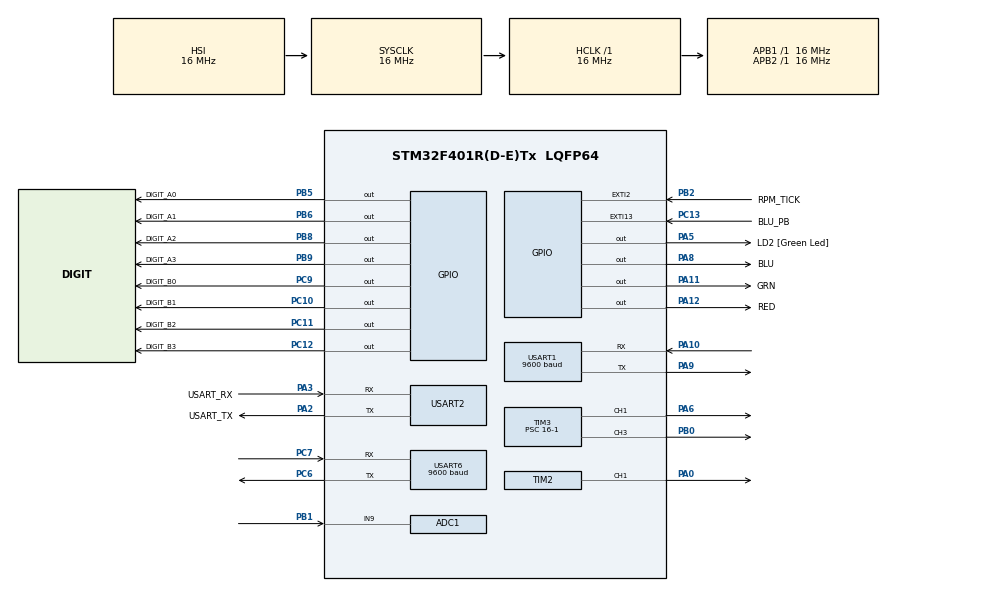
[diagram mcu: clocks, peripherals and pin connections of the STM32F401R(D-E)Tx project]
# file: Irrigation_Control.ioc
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ADC1.Channel-0\#ChannelRegularConversion=ADC_CHANNEL_9
ADC1.NbrOfConversionFlag=1
ADC1.Rank-0\#ChannelRegularConversion=1
ADC1.Resolution=ADC_RESOLUTION_8B
ADC1.SamplingTime-0\#ChannelRegularConversion=ADC_SAMPLETIME_15CYCLES
ADC1.ScanConvMode=ENABLE
ADC1.master=1
Mcu.Family=STM32F4
Mcu.Name=STM32F401R(D-E)Tx
Mcu.Package=LQFP64
NVIC.EXTI15_10_IRQn=true\:0\:0\:false\:false\:true\:true\:true\:true
NVIC.EXTI2_IRQn=true\:0\:0\:false\:false\:true\:true\:true\:true
NVIC.PriorityGroup=NVIC_PRIORITYGROUP_0
NVIC.TIM5_IRQn=true\:0\:0\:false\:false\:true\:true\:true\:true
NVIC.USART1_IRQn=true\:0\:0\:false\:false\:true\:true\:true\:true
NVIC.USART6_IRQn=true\:0\:0\:false\:false\:true\:true\:true\:true
PA0-WKUP.Signal=S_TIM2_CH1_ETR
PA10.Mode=Asynchronous
PA10.Signal=USART1_RX
PA11.GPIO_Label=GRN
PA11.Signal=GPIO_Output
PA12.GPIO_Label=RED
PA12.Signal=GPIO_Output
PA13.GPIO_Label=TMS
PA13.Mode=Serial_Wire
PA13.Signal=SYS_JTMS-SWDIO
PA14.GPIO_Label=TCK
PA14.Mode=Serial_Wire
PA14.Signal=SYS_JTCK-SWCLK
PA2.GPIO_Label=USART_TX
PA2.GPIO_Mode=GPIO_MODE_AF_PP
PA2.GPIO_PuPd=GPIO_NOPULL
PA2.GPIO_Speed=GPIO_SPEED_FREQ_LOW
PA2.Mode=Asynchronous
PA2.Signal=USART2_TX
PA3.GPIO_Label=USART_RX
PA3.GPIO_Mode=GPIO_MODE_AF_PP
PA3.GPIO_PuPd=GPIO_NOPULL
PA3.GPIO_Speed=GPIO_SPEED_FREQ_LOW
PA3.Mode=Asynchronous
PA3.Signal=USART2_RX
PA5.GPIO_Label=LD2 [Green Led]
PA5.GPIO_Mode=GPIO_MODE_OUTPUT_PP
PA5.GPIO_PuPd=GPIO_NOPULL
PA5.GPIO_Speed=GPIO_SPEED_FREQ_LOW
PA5.Signal=GPIO_Output
PA6.Signal=S_TIM3_CH1
PA8.GPIO_Label=BLU
PA8.Signal=GPIO_Output
PA9.Mode=Asynchronous
PA9.Signal=USART1_TX
PB0.Signal=S_TIM3_CH3
PB1.Signal=ADCx_IN9
PB2.GPIO_Label=RPM_TICK
PB2.Signal=GPXTI2
PB3.GPIO_Label=SWO
PB3.Signal=SYS_JTDO-SWO
PB5.GPIO_Label=DIGIT_A0
PB5.Signal=GPIO_Output
PB6.GPIO_Label=DIGIT_A1
PB6.Signal=GPIO_Output
PB8.GPIO_Label=DIGIT_A2
PB8.Signal=GPIO_Output
PB9.GPIO_Label=DIGIT_A3
PB9.Signal=GPIO_Output
PC10.GPIO_Label=DIGIT_B1
PC10.Signal=GPIO_Output
PC11.GPIO_Label=DIGIT_B2
PC11.Signal=GPIO_Output
PC12.GPIO_Label=DIGIT_B3
PC12.Signal=GPIO_Output
PC13-ANTI_TAMP.GPIO_Label=BLU_PB
PC13-ANTI_TAMP.GPIO_ModeDefaultEXTI=GPIO_MODE_IT_FALLING
PC13-ANTI_TAMP.GPIO_PuPd=GPIO_NOPULL
PC13-ANTI_TAMP.Signal=GPXTI13
PC14-OSC32_IN.Mode=LSE-External-Oscillator
PC14-OSC32_IN.Signal=RCC_OSC32_IN
PC15-OSC32_OUT.Mode=LSE-External-Oscillator
PC15-OSC32_OUT.Signal=RCC_OSC32_OUT
PC6.Mode=Asynchronous
PC6.Signal=USART6_TX
PC7.Mode=Asynchronous
PC7.Signal=USART6_RX
PC9.GPIO_Label=DIGIT_B0
PC9.Signal=GPIO_Output
PH0\ -\ OSC_IN.Mode=HSE-External-Clock-Source
PH0\ -\ OSC_IN.Signal=RCC_OSC_IN
PH1\ -\ OSC_OUT.Mode=HSE-External-Clock-Source
PH1\ -\ OSC_OUT.Signal=RCC_OSC_OUT
ProjectManager.HeapSize=0x200
ProjectManager.StackSize=0x400
ProjectManager.TargetToolchain=STM32CubeIDE
RCC.48MHZClocksFreq_Value=48000000
RCC.AHBFreq_Value=16000000
RCC.APB1Freq_Value=16000000
RCC.APB1TimFreq_Value=16000000
RCC.APB2Freq_Value=16000000
RCC.APB2TimFreq_Value=16000000
RCC.CortexFreq_Value=16000000
RCC.HCLKFreq_Value=16000000
RCC.HSE_VALUE=8000000
RCC.HSI_VALUE=16000000
RCC.PLLN=336
RCC.PLLP=RCC_PLLP_DIV4
RCC.PLLQ=7
RCC.SYSCLKFreq_VALUE=16000000
RCC.VCOOutputFreq_Value=336000000
SH.ADCx_IN9.0=ADC1_IN9,IN9
SH.S_TIM2_CH1_ETR.0=TIM2_CH1,PWM Generation1 CH1
SH.S_TIM3_CH1.0=TIM3_CH1,PWM Generation1 CH1
SH.S_TIM3_CH3.0=TIM3_CH3,PWM Generation3 CH3
TIM2.AutoReloadPreload=TIM_AUTORELOAD_PRELOAD_ENABLE
TIM2.Channel-PWM\ Generation1\ CH1=TIM_CHANNEL_1
TIM2.Period=20000-1
TIM2.Prescaler=16-1
TIM2.Pulse-PWM\ Generation1\ CH1=0
TIM3.AutoReloadPreload=TIM_AUTORELOAD_PRELOAD_ENABLE
TIM3.Channel-PWM\ Generation1\ CH1=TIM_CHANNEL_1
TIM3.Channel-PWM\ Generation3\ CH3=TIM_CHANNEL_3
TIM3.Period=2000-1
TIM3.Prescaler=16-1
TIM3.Pulse-PWM\ Generation1\ CH1=0
TIM5.AutoReloadPreload=TIM_AUTORELOAD_PRELOAD_ENABLE
TIM5.Period=1000-1
TIM5.Prescaler=16000-1
USART1.BaudRate=9600
USART1.VirtualMode=VM_ASYNC
USART2.VirtualMode=VM_ASYNC
USART6.BaudRate=9600
USART6.VirtualMode=VM_ASYNC
VP_TIM2_VS_ClockSourceINT.Mode=Internal
VP_TIM3_VS_ClockSourceINT.Mode=Internal
VP_TIM5_VS_ClockSourceINT.Mode=Internal
board=NUCLEO-F401RE

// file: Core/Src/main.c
/* USER CODE BEGIN Header */
/**
  ******************************************************************************
  * @file           : main.c
  * @brief          : Main program body
  * Author          : Bowen Zheng, Jingyan Xu
  ******************************************************************************
  * @attention
  *
  * Copyright (c) 2024 STMicroelectronics.
  * All rights reserved.
  *
  * This software is licensed under terms that can be found in the LICENSE file
  * in the root directory of this software component.
  * If no LICENSE file comes with this software, it is provided AS-IS.
  *
  ******************************************************************************
  */
/* USER CODE END Header */
#include "main.h"

/* USER CODE BEGIN Includes */
#include <string.h>
#include <stdio.h>
#include <stdlib.h>
/* USER CODE END Includes */

/* USER CODE BEGIN PD */

  /* -- UART -- */
uint8_t byte;
uint8_t user_input_flag = 0;

  /* -- MOTOR PMW Option -- */
volatile uint8_t INLET_PWM = 0;
volatile uint8_t Zone_1_PWM = 0;
volatile uint8_t Zone_2_PWM = 0;
volatile uint8_t Zone_3_PWM = 0;

  /* -- CLOCK Option -- */
volatile uint8_t WALL_CLK_START = 00;
volatile uint8_t INLET_CLK_START = 00;
volatile uint8_t INLET_CLK_STOP = 00;
volatile uint8_t Zone_1_CLK_START = 00;
volatile uint8_t Zone_1_CLK_STOP = 00;
volatile uint8_t Zone_2_CLK_START = 00;
volatile uint8_t Zone_2_CLK_STOP = 00;
volatile uint8_t Zone_3_CLK_START = 00;
volatile uint8_t Zone_3_CLK_STOP = 00;

 /* -------- RUN MODE VAR -------- */
volatile uint8_t RUN_MODE_START_FLAG = 0;
 /* -- DC Motor -- */
volatile uint64_t rpm_tick_count = 0;
volatile uint64_t last_rpm_tick_count = 0;
volatile uint32_t DC_Motor_RPM = 0;

 /* -- Wall Clock -- */
volatile uint64_t simulate_seconds = 0;
volatile uint8_t Current_Wall_CLK_Hour = 00;

// US100-Trigger, command byte  = 0x55;
uint8_t cmd_dist = 0x55;
volatile uint8_t us100_Rx_flag = 0;
/* Two bytes to store distance detected from US100 */
uint8_t us100_buffer[2] = {0};
uint8_t msg_buffer[64] = {0};
volatile uint16_t distance = 0;

 /* -- ADC -- */
volatile uint8_t ADC_Control_Percent = 0;

/* USER CODE END PD */

ADC_HandleTypeDef hadc1;

TIM_HandleTypeDef htim2;
TIM_HandleTypeDef htim3;
TIM_HandleTypeDef htim5;

UART_HandleTypeDef huart1;
UART_HandleTypeDef huart2;
UART_HandleTypeDef huart6;

void SystemClock_Config(void);
static void MX_GPIO_Init(void);
static void MX_USART2_UART_Init(void);
static void MX_TIM3_Init(void);
static void MX_TIM2_Init(void);
static void MX_USART1_UART_Init(void);
static void MX_USART6_UART_Init(void);
static void MX_ADC1_Init(void);
static void MX_TIM5_Init(void);
/* USER CODE BEGIN PFP */
void DIGITS_Display(uint8_t DIGIT_A, uint8_t DIGIT_B);
void ADC_Select_CH(int CH );
void HAL_UART_RxCpltCallback(UART_HandleTypeDef *huart);
void UART_Parse_MSG(char* option_msg, char *msg, volatile uint8_t *Zone, unsigned int input_char_num);
void UART_Send_MSG(char* msg);
void HAL_GPIO_EXTI_Callback(uint16_t GPIO_Pin);
void HAL_TIM_PeriodElapsedCallback(TIM_HandleTypeDef *htim);
void Control_DC_Motor_PWM(uint8_t percent, uint8_t direction); // 0 - reverse; 1 - forward
void Control_Servo_Motor_PWM(uint8_t direction); // 0 - INLET; 1 - OUTLET_1; 2 - OUTLET_2; 3 - OUTLET_3
void Update_Wall_CLK_Display(volatile uint64_t simulate_seconds);
uint8_t ADC_Manual_Control_PWM(ADC_HandleTypeDef *hadc, uint8_t adc_channel);

/* USER CODE END PFP */

int main(void)
{

  /* MCU Configuration--------------------------------------------------------*/

  /* Reset of all peripherals, Initializes the Flash interface and the Systick. */
  HAL_Init();

  /* Configure the system clock */
  SystemClock_Config();

  /* Initialize all configured peripherals */
  MX_GPIO_Init();
  MX_USART2_UART_Init();
  MX_TIM3_Init();
  MX_TIM2_Init();
  MX_USART1_UART_Init();
  MX_USART6_UART_Init();
  MX_ADC1_Init();
  MX_TIM5_Init();
  /* USER CODE BEGIN 2 */

    /* ------------------ SET UP MODE BEGIN ------------------ */
  // Turn off Nucleo green LED
  HAL_GPIO_WritePin(LD2_GPIO_Port, LD2_Pin, GPIO_PIN_RESET);
  UART_Send_MSG("\r SETUP MODE");
  //parse PWM options
  UART_Parse_MSG("\r\n\n PMW option: 0) Manual Control; 1) 60% PMW; 2) 80% PMW; 3) 99% PMW;",
			           "\r\n INLET MOTOR SPEED PWM (option 0-3): ", &INLET_PWM, 1);
  UART_Parse_MSG("",
			      		 "\r\n ZONE 1 MOTOR SPEED PWM (option 0-3): ", &Zone_1_PWM, 1);
  UART_Parse_MSG("",
			           "\r\n ZONE 2 MOTOR SPEED PWM (option 0-3): ", &Zone_2_PWM, 1);
  UART_Parse_MSG("",
			           "\r\n ZONE 3 MOTOR SPEED PWM (option 0-3): ", &Zone_3_PWM, 1);
  //parse CLOCK options
  UART_Parse_MSG("\r\n\n CLOCK option: 00 - Midnight, 01 - 1:00am, ... , 12 - noon, 13 - 1:00pm",
			           "\r\n CURRENT WALL CLOCK START TIME(0-23): ", &WALL_CLK_START, 2);
  UART_Parse_MSG("",
			           "\r\n\n INLET WALL CLOCK START TIME(0-23): ", &INLET_CLK_START, 2);
  UART_Parse_MSG("",
			           "\r\n INLET WALL CLOCK STOP TIME(0-23): ", &INLET_CLK_STOP, 2);
  UART_Parse_MSG("",
			           "\r\n\n ZONE 1 WALL CLOCK START TIME(0-23): ", &Zone_1_CLK_START, 2);
  UART_Parse_MSG("",
			           "\r\n ZONE 1 WALL CLOCK STOP TIME(0-23): ", &Zone_1_CLK_STOP, 2);
  UART_Parse_MSG("",
			           "\r\n\n ZONE 2 WALL CLOCK START TIME(0-23): ", &Zone_2_CLK_START, 2);
  UART_Parse_MSG("",
			           "\r\n ZONE 2 WALL CLOCK STOP TIME(0-23): ", &Zone_2_CLK_STOP, 2);
  UART_Parse_MSG("",
			           "\r\n\n ZONE 3 WALL CLOCK START TIME(0-23): ", &Zone_3_CLK_START, 2);
  UART_Parse_MSG("",
			           "\r\n ZONE 3 WALL CLOCK STOP TIME(0-23): ", &Zone_3_CLK_STOP, 2);
  UART_Send_MSG("\r\n\n SETUP MODE END");
  // wait for run mode to start (blue PB)
  while (RUN_MODE_START_FLAG == 0) {
    // Flash controller green LED
    HAL_GPIO_TogglePin(LD2_GPIO_Port, LD2_Pin);
    HAL_Delay(100);
  };
    /* ------------------ SET UP MODE END ------------------ */

    /* ------------------ RUN MODE ------------------ */
  // start up TIMER 5 for one second interrupts
  HAL_TIM_Base_Start_IT(&htim5);
  // start up TIMER 3 for DC motor control and TIMER 2 for Servo motor control
  HAL_TIM_Base_Init(&htim3);
	HAL_TIM_Base_Start(&htim2);
	HAL_TIM_PWM_Start(&htim2, TIM_CHANNEL_1);
  HAL_TIM_Base_Init(&htim3);
  HAL_TIM_PWM_Start(&htim3, TIM_CHANNEL_1);
  HAL_TIM_PWM_Start(&htim3, TIM_CHANNEL_3);

	// Turn ON controller green LED
	HAL_GPIO_WritePin(LD2_GPIO_Port, LD2_Pin, GPIO_PIN_SET);
	UART_Send_MSG("\r\n\n RUN MODE");
  /* USER CODE END 2 */

  /* Infinite loop */
  /* USER CODE BEGIN WHILE */
  while (1)
  {
  	/*
  	Control_DC_Motor_PWM(99, 0);
  	char buf[64];
  	sprintf(buf, "Motor RPM: %lu\r\n", DC_Motor_RPM);
  	HAL_UART_Transmit(&huart6, (uint8_t*)buf, strlen(buf), 1000);
		*/
  	/* US100
  	HAL_UART_Receive_IT(&huart1, us100_buffer, 2);
		HAL_UART_Transmit(&huart1, &cmd_dist, 1, 500);
		while( us100_Rx_flag == (00) ) {};
		// Combine the two bytes into a single 16-bit integer
		distance = ((uint16_t)us100_buffer[0] << 8) | us100_buffer[1];
		sprintf( (char*)msg_buffer, "Distance in mm: %d \r\n", distance );
    HAL_UART_Transmit(&huart6, msg_buffer, strlen((char*)msg_buffer), 1000);
		*/
  	uint8_t adc_percent = ADC_Manual_Control_PWM(&hadc1, 9);
  	char buf[64];
  	sprintf(buf, "ADC: %u\r\n", adc_percent);
  	HAL_UART_Transmit(&huart6, (uint8_t*)buf, strlen(buf), 1000);

  	  /* ------------------ RUN MODE END ------------------ */

    /* USER CODE END WHILE */

  }
}

void SystemClock_Config(void)
{
  RCC_OscInitTypeDef RCC_OscInitStruct = {0};
  RCC_ClkInitTypeDef RCC_ClkInitStruct = {0};

  /** Configure the main internal regulator output voltage
  */
  __HAL_RCC_PWR_CLK_ENABLE();
  __HAL_PWR_VOLTAGESCALING_CONFIG(PWR_REGULATOR_VOLTAGE_SCALE2);

  /** Initializes the RCC Oscillators according to the specified parameters
  * in the RCC_OscInitTypeDef structure.
  */
  RCC_OscInitStruct.OscillatorType = RCC_OSCILLATORTYPE_HSI;
  RCC_OscInitStruct.HSIState = RCC_HSI_ON;
  RCC_OscInitStruct.HSICalibrationValue = RCC_HSICALIBRATION_DEFAULT;
  RCC_OscInitStruct.PLL.PLLState = RCC_PLL_NONE;
  if (HAL_RCC_OscConfig(&RCC_OscInitStruct) != HAL_OK)
  {
    Error_Handler();
  }

  /** Initializes the CPU, AHB and APB buses clocks
  */
  RCC_ClkInitStruct.ClockType = RCC_CLOCKTYPE_HCLK|RCC_CLOCKTYPE_SYSCLK
                              |RCC_CLOCKTYPE_PCLK1|RCC_CLOCKTYPE_PCLK2;
  RCC_ClkInitStruct.SYSCLKSource = RCC_SYSCLKSOURCE_HSI;
  RCC_ClkInitStruct.AHBCLKDivider = RCC_SYSCLK_DIV1;
  RCC_ClkInitStruct.APB1CLKDivider = RCC_HCLK_DIV1;
  RCC_ClkInitStruct.APB2CLKDivider = RCC_HCLK_DIV1;

  if (HAL_RCC_ClockConfig(&RCC_ClkInitStruct, FLASH_LATENCY_0) != HAL_OK)
  {
    Error_Handler();
  }
}

static void MX_ADC1_Init(void)
{

  ADC_ChannelConfTypeDef sConfig = {0};

  /** Configure the global features of the ADC (Clock, Resolution, Data Alignment and number of conversion)
  */
  hadc1.Instance = ADC1;
  hadc1.Init.ClockPrescaler = ADC_CLOCK_SYNC_PCLK_DIV2;
  hadc1.Init.Resolution = ADC_RESOLUTION_8B;
  hadc1.Init.ScanConvMode = ENABLE;
  hadc1.Init.ContinuousConvMode = DISABLE;
  hadc1.Init.DiscontinuousConvMode = DISABLE;
  hadc1.Init.ExternalTrigConvEdge = ADC_EXTERNALTRIGCONVEDGE_NONE;
  hadc1.Init.ExternalTrigConv = ADC_SOFTWARE_START;
  hadc1.Init.DataAlign = ADC_DATAALIGN_RIGHT;
  hadc1.Init.NbrOfConversion = 1;
  hadc1.Init.DMAContinuousRequests = DISABLE;
  hadc1.Init.EOCSelection = ADC_EOC_SINGLE_CONV;
  if (HAL_ADC_Init(&hadc1) != HAL_OK)
  {
    Error_Handler();
  }

  /** Configure for the selected ADC regular channel its corresponding rank in the sequencer and its sample time.
  */
  sConfig.Channel = ADC_CHANNEL_9;
  sConfig.Rank = 1;
  sConfig.SamplingTime = ADC_SAMPLETIME_15CYCLES;
  if (HAL_ADC_ConfigChannel(&hadc1, &sConfig) != HAL_OK)
  {
    Error_Handler();
  }

}

static void MX_TIM2_Init(void)
{

  TIM_ClockConfigTypeDef sClockSourceConfig = {0};
  TIM_MasterConfigTypeDef sMasterConfig = {0};
  TIM_OC_InitTypeDef sConfigOC = {0};

  htim2.Instance = TIM2;
  htim2.Init.Prescaler = 16-1;
  htim2.Init.CounterMode = TIM_COUNTERMODE_UP;
  htim2.Init.Period = 20000-1;
  htim2.Init.ClockDivision = TIM_CLOCKDIVISION_DIV1;
  htim2.Init.AutoReloadPreload = TIM_AUTORELOAD_PRELOAD_ENABLE;
  if (HAL_TIM_Base_Init(&htim2) != HAL_OK)
  {
    Error_Handler();
  }
  sClockSourceConfig.ClockSource = TIM_CLOCKSOURCE_INTERNAL;
  if (HAL_TIM_ConfigClockSource(&htim2, &sClockSourceConfig) != HAL_OK)
  {
    Error_Handler();
  }
  if (HAL_TIM_PWM_Init(&htim2) != HAL_OK)
  {
    Error_Handler();
  }
  sMasterConfig.MasterOutputTrigger = TIM_TRGO_RESET;
  sMasterConfig.MasterSlaveMode = TIM_MASTERSLAVEMODE_DISABLE;
  if (HAL_TIMEx_MasterConfigSynchronization(&htim2, &sMasterConfig) != HAL_OK)
  {
    Error_Handler();
  }
  sConfigOC.OCMode = TIM_OCMODE_PWM1;
  sConfigOC.Pulse = 500-1;
  sConfigOC.OCPolarity = TIM_OCPOLARITY_HIGH;
  sConfigOC.OCFastMode = TIM_OCFAST_DISABLE;
  if (HAL_TIM_PWM_ConfigChannel(&htim2, &sConfigOC, TIM_CHANNEL_1) != HAL_OK)
  {
    Error_Handler();
  }
  HAL_TIM_MspPostInit(&htim2);

}

static void MX_TIM3_Init(void)
{

  TIM_ClockConfigTypeDef sClockSourceConfig = {0};
  TIM_MasterConfigTypeDef sMasterConfig = {0};
  TIM_OC_InitTypeDef sConfigOC = {0};

  htim3.Instance = TIM3;
  htim3.Init.Prescaler = 16-1;
  htim3.Init.CounterMode = TIM_COUNTERMODE_UP;
  htim3.Init.Period = 2000-1;
  htim3.Init.ClockDivision = TIM_CLOCKDIVISION_DIV1;
  htim3.Init.AutoReloadPreload = TIM_AUTORELOAD_PRELOAD_ENABLE;
  if (HAL_TIM_Base_Init(&htim3) != HAL_OK)
  {
    Error_Handler();
  }
  sClockSourceConfig.ClockSource = TIM_CLOCKSOURCE_INTERNAL;
  if (HAL_TIM_ConfigClockSource(&htim3, &sClockSourceConfig) != HAL_OK)
  {
    Error_Handler();
  }
  if (HAL_TIM_PWM_Init(&htim3) != HAL_OK)
  {
    Error_Handler();
  }
  sMasterConfig.MasterOutputTrigger = TIM_TRGO_RESET;
  sMasterConfig.MasterSlaveMode = TIM_MASTERSLAVEMODE_DISABLE;
  if (HAL_TIMEx_MasterConfigSynchronization(&htim3, &sMasterConfig) != HAL_OK)
  {
    Error_Handler();
  }
  sConfigOC.OCMode = TIM_OCMODE_PWM1;
  sConfigOC.Pulse = 0;
  sConfigOC.OCPolarity = TIM_OCPOLARITY_HIGH;
  sConfigOC.OCFastMode = TIM_OCFAST_DISABLE;
  if (HAL_TIM_PWM_ConfigChannel(&htim3, &sConfigOC, TIM_CHANNEL_1) != HAL_OK)
  {
    Error_Handler();
  }
  if (HAL_TIM_PWM_ConfigChannel(&htim3, &sConfigOC, TIM_CHANNEL_3) != HAL_OK)
  {
    Error_Handler();
  }
  HAL_TIM_MspPostInit(&htim3);

}

static void MX_TIM5_Init(void)
{

  TIM_ClockConfigTypeDef sClockSourceConfig = {0};
  TIM_MasterConfigTypeDef sMasterConfig = {0};

  htim5.Instance = TIM5;
  htim5.Init.Prescaler = 16000-1;
  htim5.Init.CounterMode = TIM_COUNTERMODE_UP;
  htim5.Init.Period = 1000-1;
  htim5.Init.ClockDivision = TIM_CLOCKDIVISION_DIV1;
  htim5.Init.AutoReloadPreload = TIM_AUTORELOAD_PRELOAD_ENABLE;
  if (HAL_TIM_Base_Init(&htim5) != HAL_OK)
  {
    Error_Handler();
  }
  sClockSourceConfig.ClockSource = TIM_CLOCKSOURCE_INTERNAL;
  if (HAL_TIM_ConfigClockSource(&htim5, &sClockSourceConfig) != HAL_OK)
  {
    Error_Handler();
  }
  sMasterConfig.MasterOutputTrigger = TIM_TRGO_RESET;
  sMasterConfig.MasterSlaveMode = TIM_MASTERSLAVEMODE_DISABLE;
  if (HAL_TIMEx_MasterConfigSynchronization(&htim5, &sMasterConfig) != HAL_OK)
  {
    Error_Handler();
  }

}

static void MX_USART1_UART_Init(void)
{

  huart1.Instance = USART1;
  huart1.Init.BaudRate = 9600;
  huart1.Init.WordLength = UART_WORDLENGTH_8B;
  huart1.Init.StopBits = UART_STOPBITS_1;
  huart1.Init.Parity = UART_PARITY_NONE;
  huart1.Init.Mode = UART_MODE_TX_RX;
  huart1.Init.HwFlowCtl = UART_HWCONTROL_NONE;
  huart1.Init.OverSampling = UART_OVERSAMPLING_16;
  if (HAL_UART_Init(&huart1) != HAL_OK)
  {
    Error_Handler();
  }

}

static void MX_USART2_UART_Init(void)
{

  huart2.Instance = USART2;
  huart2.Init.BaudRate = 115200;
  huart2.Init.WordLength = UART_WORDLENGTH_8B;
  huart2.Init.StopBits = UART_STOPBITS_1;
  huart2.Init.Parity = UART_PARITY_NONE;
  huart2.Init.Mode = UART_MODE_TX_RX;
  huart2.Init.HwFlowCtl = UART_HWCONTROL_NONE;
  huart2.Init.OverSampling = UART_OVERSAMPLING_16;
  if (HAL_UART_Init(&huart2) != HAL_OK)
  {
    Error_Handler();
  }

}

static void MX_USART6_UART_Init(void)
{

  huart6.Instance = USART6;
  huart6.Init.BaudRate = 9600;
  huart6.Init.WordLength = UART_WORDLENGTH_8B;
  huart6.Init.StopBits = UART_STOPBITS_1;
  huart6.Init.Parity = UART_PARITY_NONE;
  huart6.Init.Mode = UART_MODE_TX_RX;
  huart6.Init.HwFlowCtl = UART_HWCONTROL_NONE;
  huart6.Init.OverSampling = UART_OVERSAMPLING_16;
  if (HAL_UART_Init(&huart6) != HAL_OK)
  {
    Error_Handler();
  }

}

static void MX_GPIO_Init(void)
{
  GPIO_InitTypeDef GPIO_InitStruct = {0};

  /* GPIO Ports Clock Enable */
  __HAL_RCC_GPIOC_CLK_ENABLE();
  __HAL_RCC_GPIOH_CLK_ENABLE();
  __HAL_RCC_GPIOA_CLK_ENABLE();
  __HAL_RCC_GPIOB_CLK_ENABLE();

  /*Configure GPIO pin Output Level */
  HAL_GPIO_WritePin(GPIOA, LD2_Pin|BLU_Pin|GRN_Pin|RED_Pin, GPIO_PIN_RESET);

  /*Configure GPIO pin Output Level */
  HAL_GPIO_WritePin(GPIOC, DIGIT_B0_Pin|DIGIT_B1_Pin|DIGIT_B2_Pin|DIGIT_B3_Pin, GPIO_PIN_RESET);

  /*Configure GPIO pin Output Level */
  HAL_GPIO_WritePin(GPIOB, DIGIT_A0_Pin|DIGIT_A1_Pin|DIGIT_A2_Pin|DIGIT_A3_Pin, GPIO_PIN_RESET);

  /*Configure GPIO pin : BLU_PB_Pin */
  GPIO_InitStruct.Pin = BLU_PB_Pin;
  GPIO_InitStruct.Mode = GPIO_MODE_IT_FALLING;
  GPIO_InitStruct.Pull = GPIO_NOPULL;
  HAL_GPIO_Init(BLU_PB_GPIO_Port, &GPIO_InitStruct);

  /*Configure GPIO pins : LD2_Pin BLU_Pin GRN_Pin RED_Pin */
  GPIO_InitStruct.Pin = LD2_Pin|BLU_Pin|GRN_Pin|RED_Pin;
  GPIO_InitStruct.Mode = GPIO_MODE_OUTPUT_PP;
  GPIO_InitStruct.Pull = GPIO_NOPULL;
  GPIO_InitStruct.Speed = GPIO_SPEED_FREQ_LOW;
  HAL_GPIO_Init(GPIOA, &GPIO_InitStruct);

  /*Configure GPIO pin : RPM_TICK_Pin */
  GPIO_InitStruct.Pin = RPM_TICK_Pin;
  GPIO_InitStruct.Mode = GPIO_MODE_IT_RISING;
  GPIO_InitStruct.Pull = GPIO_NOPULL;
  HAL_GPIO_Init(RPM_TICK_GPIO_Port, &GPIO_InitStruct);

  /*Configure GPIO pins : DIGIT_B0_Pin DIGIT_B1_Pin DIGIT_B2_Pin DIGIT_B3_Pin */
  GPIO_InitStruct.Pin = DIGIT_B0_Pin|DIGIT_B1_Pin|DIGIT_B2_Pin|DIGIT_B3_Pin;
  GPIO_InitStruct.Mode = GPIO_MODE_OUTPUT_PP;
  GPIO_InitStruct.Pull = GPIO_NOPULL;
  GPIO_InitStruct.Speed = GPIO_SPEED_FREQ_LOW;
  HAL_GPIO_Init(GPIOC, &GPIO_InitStruct);

  /*Configure GPIO pins : DIGIT_A0_Pin DIGIT_A1_Pin DIGIT_A2_Pin DIGIT_A3_Pin */
  GPIO_InitStruct.Pin = DIGIT_A0_Pin|DIGIT_A1_Pin|DIGIT_A2_Pin|DIGIT_A3_Pin;
  GPIO_InitStruct.Mode = GPIO_MODE_OUTPUT_PP;
  GPIO_InitStruct.Pull = GPIO_NOPULL;
  GPIO_InitStruct.Speed = GPIO_SPEED_FREQ_LOW;
  HAL_GPIO_Init(GPIOB, &GPIO_InitStruct);

  /* EXTI interrupt init*/
  HAL_NVIC_SetPriority(EXTI2_IRQn, 0, 0);
  HAL_NVIC_EnableIRQ(EXTI2_IRQn);

  HAL_NVIC_SetPriority(EXTI15_10_IRQn, 0, 0);
  HAL_NVIC_EnableIRQ(EXTI15_10_IRQn);

}

/* USER CODE BEGIN 4 */
void DIGITS_Display(uint8_t DIGIT_A, uint8_t DIGIT_B)
{
	uint8_t DIGITA_VAL = 0x0F & DIGIT_A; //mask off higher4 bits
	int Abit0 = (DIGITA_VAL ) & 1;  	// extract Abit0 of the 4-bit value
	int Abit1 = (DIGITA_VAL >> 1) & 1;  // extract Abit1 of the 4-bit value
	int Abit2 = (DIGITA_VAL >> 2) & 1;  // extract Abit2 of the 4-bit value
	int Abit3 = (DIGITA_VAL >> 3) & 1;  // extract Abit3 of the 4-bit value

	uint8_t DIGITB_VAL = 0x0F & DIGIT_B; //mask off higher4 bits
	int Bbit0 = (DIGITB_VAL ) & 1;  	// extract Bbit0 of the 4-bit value
	int Bbit1 = (DIGITB_VAL >> 1) & 1;  // extract Bbit1 of the 4-bit value
	int Bbit2 = (DIGITB_VAL >> 2) & 1;  // extract Bbit2 of the 4-bit value
	int Bbit3 = (DIGITB_VAL >> 3) & 1;  // extract Bbit3 of the 4-bit value

	if (Abit0 == (0))
	{
	 HAL_GPIO_WritePin(GPIOB, DIGIT_A0_Pin, GPIO_PIN_RESET);
	}
	else
	{
	 HAL_GPIO_WritePin(GPIOB, DIGIT_A0_Pin, GPIO_PIN_SET);

	}
	if (Abit1 == (0))
	{
	 HAL_GPIO_WritePin(GPIOB, DIGIT_A1_Pin, GPIO_PIN_RESET);
	}
	else
	{
	 HAL_GPIO_WritePin(GPIOB, DIGIT_A1_Pin, GPIO_PIN_SET);

	}
	if (Abit2 == (0))
	{
	 HAL_GPIO_WritePin(GPIOB, DIGIT_A2_Pin, GPIO_PIN_RESET);
	}
	else
	{
	 HAL_GPIO_WritePin(GPIOB, DIGIT_A2_Pin, GPIO_PIN_SET);

	}
	if (Abit3 == (0))
	{
	 HAL_GPIO_WritePin(GPIOB, DIGIT_A3_Pin, GPIO_PIN_RESET);
	}
	else
	{
	 HAL_GPIO_WritePin(GPIOB, DIGIT_A3_Pin, GPIO_PIN_SET);

	}

	if (Bbit0 == (0))
	{
	 HAL_GPIO_WritePin(GPIOC, DIGIT_B0_Pin, GPIO_PIN_RESET);
	}
	else
	{
	 HAL_GPIO_WritePin(GPIOC, DIGIT_B0_Pin, GPIO_PIN_SET);

	}
	if (Bbit1 == (0))
	{
	 HAL_GPIO_WritePin(GPIOC, DIGIT_B1_Pin, GPIO_PIN_RESET);
	}
	else
	{
	 HAL_GPIO_WritePin(GPIOC, DIGIT_B1_Pin, GPIO_PIN_SET);

	}
	if (Bbit2 == (0))
	{
	 HAL_GPIO_WritePin(GPIOC, DIGIT_B2_Pin, GPIO_PIN_RESET);
	}
	else
	{
	 HAL_GPIO_WritePin(GPIOC, DIGIT_B2_Pin, GPIO_PIN_SET);

	}
	if (Bbit3 == (0))
	{
	 HAL_GPIO_WritePin(GPIOC, DIGIT_B3_Pin, GPIO_PIN_RESET);
	}
	else
	{
	 HAL_GPIO_WritePin(GPIOC, DIGIT_B3_Pin, GPIO_PIN_SET);
	}
}

void ADC_Select_CH(int CH)
{
  ADC_ChannelConfTypeDef sConfig = {0};
	switch(CH)
	{
	case 0:
	sConfig.Channel = ADC_CHANNEL_0;
	sConfig.Rank = 1;
	if (HAL_ADC_ConfigChannel(&hadc1, &sConfig) != HAL_OK)
	{
	Error_Handler();
	}
	break;
	case 1:
	sConfig.Channel = ADC_CHANNEL_1;
	sConfig.Rank = 1;
	if (HAL_ADC_ConfigChannel(&hadc1, &sConfig) != HAL_OK)
	{
	Error_Handler();
	}
	break;
	case 2:
	sConfig.Channel = ADC_CHANNEL_2;
	sConfig.Rank = 1;
	if (HAL_ADC_ConfigChannel(&hadc1, &sConfig) != HAL_OK)
	{
	Error_Handler();
	}
	break;
	case 3:
	sConfig.Channel = ADC_CHANNEL_3;
	sConfig.Rank = 1;
	if (HAL_ADC_ConfigChannel(&hadc1, &sConfig) != HAL_OK)
	{
	Error_Handler();
	}
	break;
	case 4:
	sConfig.Channel = ADC_CHANNEL_4;
	sConfig.Rank = 1;
	if (HAL_ADC_ConfigChannel(&hadc1, &sConfig) != HAL_OK)
	{
	Error_Handler();
	}
	break;
	case 5:
	sConfig.Channel = ADC_CHANNEL_5;
	sConfig.Rank = 1;
	if (HAL_ADC_ConfigChannel(&hadc1, &sConfig) != HAL_OK)
	{
	Error_Handler();
	}
	break;
	case 6:
	sConfig.Channel = ADC_CHANNEL_6;
	sConfig.Rank = 1;
	if (HAL_ADC_ConfigChannel(&hadc1, &sConfig) != HAL_OK)
	{
	Error_Handler();
	}
	break;
	case 7:
	sConfig.Channel = ADC_CHANNEL_7;
	sConfig.Rank = 1;
	if (HAL_ADC_ConfigChannel(&hadc1, &sConfig) != HAL_OK)
	{
	Error_Handler();
	}
	break;
	case 8:
	sConfig.Channel = ADC_CHANNEL_8;
	sConfig.Rank = 1;
	if (HAL_ADC_ConfigChannel(&hadc1, &sConfig) != HAL_OK)
	{
	Error_Handler();
	}
	break;
	case 9:
	sConfig.Channel = ADC_CHANNEL_9;
	sConfig.Rank = 1;
	if (HAL_ADC_ConfigChannel(&hadc1, &sConfig) != HAL_OK)
	{
	Error_Handler();
	}
	break;
	case 10:
	sConfig.Channel = ADC_CHANNEL_10;
	sConfig.Rank = 1;
	if (HAL_ADC_ConfigChannel(&hadc1, &sConfig) != HAL_OK)
	{
	Error_Handler();
	}
	break;
	case 11:
	sConfig.Channel = ADC_CHANNEL_11;
	sConfig.Rank = 1;
	if (HAL_ADC_ConfigChannel(&hadc1, &sConfig) != HAL_OK)
	{
	Error_Handler();
	}
	break;
	case 12:
	sConfig.Channel = ADC_CHANNEL_12;
	sConfig.Rank = 1;
	if (HAL_ADC_ConfigChannel(&hadc1, &sConfig) != HAL_OK)
	{
	Error_Handler();
	}
	break;
	case 13:
	sConfig.Channel = ADC_CHANNEL_13;
	sConfig.Rank = 1;
	if (HAL_ADC_ConfigChannel(&hadc1, &sConfig) != HAL_OK)
	{
	Error_Handler();
	}
	break;
	case 14:
	sConfig.Channel = ADC_CHANNEL_14;
	sConfig.Rank = 1;
	if (HAL_ADC_ConfigChannel(&hadc1, &sConfig) != HAL_OK)
	{
	Error_Handler();
	}
	break;
	case 15:
	sConfig.Channel = ADC_CHANNEL_15;
	sConfig.Rank = 1;
	if (HAL_ADC_ConfigChannel(&hadc1, &sConfig) != HAL_OK)
	{
	Error_Handler();
	}
	break;
	}
}

void UART_Parse_MSG(char *option_msg, char *msg, volatile uint8_t *Zone, unsigned int input_char_num)
{
	user_input_flag = 0;
  uint8_t txd_msg_buffer[64] = {0};
  uint8_t option_buffer[128] = {0};
  uint8_t temp_zone[4] = {0};

  memset(temp_zone, 0, sizeof(temp_zone));

  sprintf((char*)txd_msg_buffer, "%s", msg);
  sprintf((char*)option_buffer, "%s", option_msg);
  // Send the prompt to the user
  HAL_UART_Transmit(&huart6, option_buffer, strlen((char*)option_buffer), 1000);
  HAL_UART_Transmit(&huart6, txd_msg_buffer, strlen((char*)txd_msg_buffer), 1000);
  // Initialize user input interrupt to write input to PWM_Zone
  HAL_UART_Receive_IT(&huart6, temp_zone, input_char_num);
  // Wait for the reception to complete
  while(user_input_flag == 0) {};
  temp_zone[input_char_num] = '\0';
  // Convert received data
  *Zone = atoi((const char *)temp_zone);
  // Echo the received byte back to UART to confirm reception
  sprintf((char*)txd_msg_buffer, "%i", *Zone);
  HAL_UART_Transmit(&huart6, txd_msg_buffer, strlen((char*)txd_msg_buffer), 1000);
}

void UART_Send_MSG(char* msg)
{
	uint8_t msg_buffer[64] = {0};
	sprintf((char*)msg_buffer, "%s", msg);
	HAL_UART_Transmit(&huart6, msg_buffer, strlen((char*)msg_buffer), 1000);
}

void HAL_UART_RxCpltCallback(UART_HandleTypeDef *huart)
{
	if (huart->Instance == USART6) {
		user_input_flag = 1;
	}

	if (huart->Instance == USART1)
	{
		us100_Rx_flag = 01; //this flag is set to show that an receiver interrupt has occurred
	}
}

void HAL_GPIO_EXTI_Callback(uint16_t GPIO_Pin)
{
	if (GPIO_Pin == BLU_PB_Pin) {
		RUN_MODE_START_FLAG = 1;
	}

	if(GPIO_Pin == RPM_TICK_Pin) {
		rpm_tick_count++;  // Ensure this is incrementing

	}
}

void HAL_TIM_PeriodElapsedCallback(TIM_HandleTypeDef *htim)
{
	if (htim->Instance == TIM5) {
		// Update wall clock second every real second
		simulate_seconds += 600;  // Simulating 24 hour minutes per 2.4 min
		Update_Wall_CLK_Display(simulate_seconds);
	}

	// MOTRO RPM calculation
	uint32_t ticks = rpm_tick_count - last_rpm_tick_count;
	if (ticks > 0) {
			DC_Motor_RPM = (ticks * 60) / 20;  // Calculate RPM based on ticks
	} else {
			DC_Motor_RPM = 0;  // Set RPM to zero if no ticks are detected
	}
	last_rpm_tick_count = rpm_tick_count;  // Update last count

}

void Control_DC_Motor_PWM(uint8_t percent, uint8_t direction)
{
	uint32_t pwm_value = (2000 * percent) / 100;  // Calculate the PWM value based on the percentage

	// Set motor direction 0 - reverse, 1 - forward
	if (direction == 1) {
		// Forward direction
		TIM3->CCR1 = pwm_value; // Set PWM for forward
		TIM3->CCR3 = 0;         // Ensure the reverse is 0
	} else {
		// Reverse direction
		TIM3->CCR1 = 0;         // Ensure the forward is 0
		TIM3->CCR3 = pwm_value; // Set PWM for reverse
	}
}

void Control_Servo_Motor_PWM(uint8_t direction) {
	// Set motor direction 0 - INLET
	if (direction == 0) {
		TIM2->CCR1 = 2500;
	} else if (direction == 1){
		TIM2->CCR1 = 500;
	} else if (direction == 2) {
		TIM2->CCR1 = 1200;
	} else if (direction == 3 ) {
		TIM2->CCR1 = 1900;
	}
}

void Update_Wall_CLK_Display(volatile uint64_t simulated_seconds)
{
		if (simulate_seconds >= 3600) {
			simulate_seconds -= 3600;
			Current_Wall_CLK_Hour++;
			if (Current_Wall_CLK_Hour >= 24) {
					Current_Wall_CLK_Hour = 0;
			}
		}
		uint8_t scaled_hour = (WALL_CLK_START + Current_Wall_CLK_Hour) % 24;

    uint8_t digit_a = scaled_hour / 10; // Tens digit of the hour
    uint8_t digit_b = scaled_hour % 10; // Units digit of the hour

    DIGITS_Display(digit_a, digit_b); // Display the scaled hour
}

uint8_t ADC_Manual_Control_PWM(ADC_HandleTypeDef *hadc, uint8_t adc_channel) {
  uint8_t adc_value = 0; // 0 - 255
	ADC_Select_CH(adc_channel);
	HAL_ADC_Start(&hadc1);
	HAL_ADC_PollForConversion(&hadc1, 1000);
	adc_value = HAL_ADC_GetValue(&hadc1);
	HAL_ADC_Stop(&hadc1);

	// Calculate percentage (0 to 100%)
	uint8_t percentage = (uint8_t)((adc_value * 100) / 255);

  return percentage;
}
/* USER CODE END 4 */

void Error_Handler(void)
{
  __disable_irq();
  while (1)
  {
  }
}
